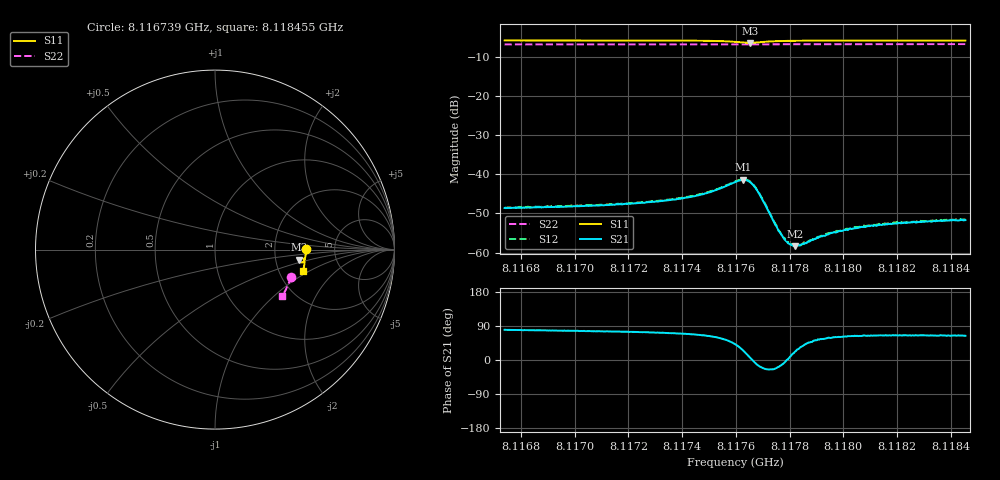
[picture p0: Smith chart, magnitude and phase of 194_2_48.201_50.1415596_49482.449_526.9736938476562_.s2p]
#  HZ  S  RI  R  50.00
! Rohde & Schwarz Vector Network Analyzer
! Rohde-Schwarz,ZNB20-2Port,1311601062101988,3.16
! Created: UTC 3/20/2024, 11:44:45 AM
! freq[Hz]  re:S11  im:S11  re:S21  im:S21  re:S12  im:S12  re:S22  im:S22
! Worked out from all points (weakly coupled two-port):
!   401 points, 8.116739 GHz to 8.118455 GHz, reference 50 ohm
!   highest |S21| = -41.44 dB at 8.117627 GHz (marker M1); lowest = -58.4 dB at 8.11782 GHz (marker M2)
!   lowest |S11| = -6.5 dB at 8.117653 GHz (marker M3), VSWR 2.79, Z = 136 - j19.9 ohm
!   |S11| at or under -10 dB: nowhere
!   |S22| runs from -6.9 to -6.8 dB; largest |S21 - S12| = 0.00022
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8.1167392e9  0.5066 0.00292  0.000663 0.00364  0.000689 0.00371  0.4239 -0.152
8.1170265e9  0.5056 -0.0194  0.000904 0.00381  0.000987 0.00389  0.4177 -0.1709
8.1173139e9  0.503 -0.0431  0.00139 0.00429  0.00147 0.00436  0.4102 -0.1898
8.1173954e9  0.5014 -0.0507  0.0017 0.00456  0.00175 0.00465  0.4079 -0.1949
8.1174725e9  0.4987 -0.0588  0.0023 0.00501  0.00236 0.00508  0.4057 -0.2
8.1175326e9  0.494 -0.066  0.00326 0.00549  0.00337 0.00553  0.4038 -0.2039
8.1175969e9  0.4814 -0.0718  0.0059 0.00528  0.00607 0.00533  0.4013 -0.2077
8.1176269e9  0.4719 -0.0675  0.00766 0.00363  0.00782 0.00359  0.4001 -0.2094
8.1176527e9  0.4687 -0.0569  0.00789 0.000867  0.00807 0.000803  0.3994 -0.2104
8.1176698e9  0.4723 -0.0502  0.00683 -0.000734  0.00702 -0.000821  0.399 -0.211
8.1176827e9  0.4766 -0.0472  0.00579 -0.00144  0.00589 -0.00151  0.3989 -0.2118
8.1177513e9  0.4938 -0.0526  0.00202 -0.000784  0.00208 -0.000805  0.3976 -0.2165
8.117777e9  0.4961 -0.0566  0.00152 -0.00025  0.00154 -0.000288  0.3969 -0.2181
8.1177985e9  0.4973 -0.0597  0.00128 0.000132  0.0013 0.000119  0.3963 -0.2197
8.1178199e9  0.4979 -0.0625  0.00112 0.000446  0.00115 0.000432  0.3956 -0.221
8.1178371e9  0.4982 -0.0646  0.00105 0.000643  0.00109 0.000633  0.3951 -0.2221
8.1178843e9  0.4986 -0.0701  0.00098 0.00108  0.000972 0.00109  0.3937 -0.2251
8.1179529e9  0.4985 -0.0769  0.000935 0.0015  0.000917 0.00151  0.3914 -0.2294
8.1180043e9  0.498 -0.0817  0.000912 0.00172  0.000941 0.00171  0.3897 -0.2325
8.1180687e9  0.4972 -0.0871  0.00095 0.00191  0.000962 0.00194  0.3876 -0.2366
8.1181716e9  0.4958 -0.0956  0.000973 0.0021  0.00101 0.00211  0.3838 -0.2429
8.1184547e9  0.491 -0.1174  0.00114 0.00233  0.00118 0.00237  0.3737 -0.2601
